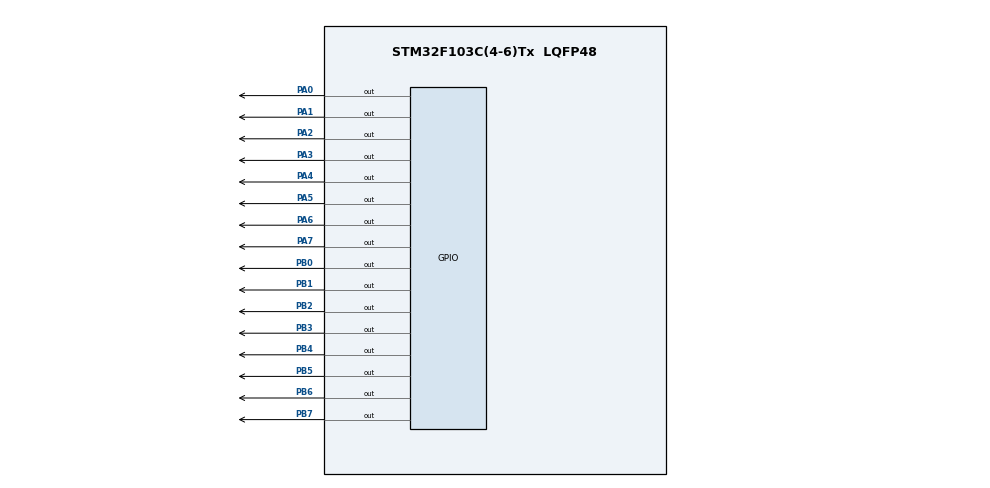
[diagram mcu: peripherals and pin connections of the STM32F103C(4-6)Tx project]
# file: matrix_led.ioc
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Mcu.Family=STM32F1
Mcu.Name=STM32F103C(4-6)Tx
Mcu.Package=LQFP48
NVIC.PriorityGroup=NVIC_PRIORITYGROUP_4
PA0-WKUP.Signal=GPIO_Output
PA1.Signal=GPIO_Output
PA2.Signal=GPIO_Output
PA3.Signal=GPIO_Output
PA4.Signal=GPIO_Output
PA5.Signal=GPIO_Output
PA6.Signal=GPIO_Output
PA7.Signal=GPIO_Output
PB0.Signal=GPIO_Output
PB1.Signal=GPIO_Output
PB2.Signal=GPIO_Output
PB3.Signal=GPIO_Output
PB4.Signal=GPIO_Output
PB5.Signal=GPIO_Output
PB6.Signal=GPIO_Output
PB7.Signal=GPIO_Output
ProjectManager.HeapSize=0x200
ProjectManager.StackSize=0x400
ProjectManager.TargetToolchain=STM32CubeIDE
RCC.APB1Freq_Value=8000000
RCC.APB2Freq_Value=8000000
VP_SYS_VS_ND.Mode=No_Debug
board=custom

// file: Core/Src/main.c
/* USER CODE BEGIN Header */
/**
  ******************************************************************************
  * @file           : main.c
  * @brief          : Main program body
  ******************************************************************************
  * @attention
  *
  * Copyright (c) 2026 STMicroelectronics.
  * All rights reserved.
  *
  * This software is licensed under terms that can be found in the LICENSE file
  * in the root directory of this software component.
  * If no LICENSE file comes with this software, it is provided AS-IS.
  *
  ******************************************************************************
  */
/* USER CODE END Header */
#include "main.h"

void SystemClock_Config(void);
static void MX_GPIO_Init(void);
/* USER CODE BEGIN PFP */
uint8_t row,col;
/* USER CODE END PFP */

/* USER CODE BEGIN 0 */
void mutiple(void);
void setpoint(uint8_t row,uint8_t col);
void picture(uint8_t mang2D[8][8]);
uint8_t love[8][8] =
{
		{0,0,0,0,0,0,0,0},
		{0,1,1,0,0,1,1,0},
		{1,0,0,1,1,0,0,1},
		{1,0,0,0,0,0,0,1},
		{1,0,0,0,0,0,0,1},
		{0,1,0,0,0,0,1,0},
		{0,0,1,0,0,1,0,0},
		{0,0,0,1,1,0,0,0}
};
uint8_t T[8][8] =
{
		{1,1,1,1,1,1,1,1},
		{1,1,1,1,1,1,1,1},
		{0,0,0,1,1,0,0,0},
		{0,0,0,1,1,0,0,0},
		{0,0,0,1,1,0,0,0},
		{0,0,0,1,1,0,0,0},
		{0,0,0,1,1,0,0,0},
		{0,0,0,1,1,0,0,0}
};
/* USER CODE END 0 */

int main(void)
{

  /* MCU Configuration--------------------------------------------------------*/

  /* Reset of all peripherals, Initializes the Flash interface and the Systick. */
  HAL_Init();

  /* Configure the system clock */
  SystemClock_Config();

  /* Initialize all configured peripherals */
  MX_GPIO_Init();
  /* USER CODE BEGIN 2 */

  GPIOA->ODR = 0xFF;
  uint8_t hex[8] =
  {
		  0xFF,
		  0xFF,
		  0x18,
		  0x18,
		  0x18,
		  0x18,
		  0x18,
		  0x18,
  };
	GPIOA->BSRR = 0xFF;
	GPIOB->BRR  = 0xFF;
	uint32_t check = 0;
	uint8_t pic =0;
  /* USER CODE END 2 */

  /* Infinite loop */
  /* USER CODE BEGIN WHILE */
  while (1)
  {
//	  for(uint8_t i=0;i<8;i++)
//	  {
//		  GPIOA->BSRR = hex[i];
//		  for(uint8_t j=0;j<8;j++)
//		  {
//			  GPIOB->BSRR = 1<<j;
//			  HAL_Delay(4);
//			  GPIOB->BRR = 1 <<j;
//		  }
//		  GPIOA->BRR = hex[i];
//	  }
//	  setpoint(2, 3);
//	  setpoint(2, 4);
//	  setpoint(1, 2);
//	  setpoint(1, 5);
//	  setpoint(1, 1);
//	  setpoint(1, 6);
//	  setpoint(7, 3);
//	  setpoint(7, 4);
//	  setpoint(6, 2);
//	  setpoint(6, 5);
//	  setpoint(5, 1);
//	  setpoint(5, 6);
//	  setpoint(4, 0);
//	  setpoint(4, 7);
//	  setpoint(2, 0);
//	  setpoint(2, 7);
//	  setpoint(3, 0);
//	  setpoint(3, 7);
	  if(HAL_GetTick() - check <=1000)
	  {
		  pic =1;
	  }
	  else if(HAL_GetTick() - check >=1000 && HAL_GetTick() - check <=2000)
	  {
		  pic =0;
	  }
	  else
	  {
		  check = HAL_GetTick();
	  }
	  if(pic)
	  {
		  picture(love);
	  }
	  else
	  {
		  picture(T);
	  }

    /* USER CODE END WHILE */

  }
}

void SystemClock_Config(void)
{
  RCC_OscInitTypeDef RCC_OscInitStruct = {0};
  RCC_ClkInitTypeDef RCC_ClkInitStruct = {0};

  /** Initializes the RCC Oscillators according to the specified parameters
  * in the RCC_OscInitTypeDef structure.
  */
  RCC_OscInitStruct.OscillatorType = RCC_OSCILLATORTYPE_HSI;
  RCC_OscInitStruct.HSIState = RCC_HSI_ON;
  RCC_OscInitStruct.HSICalibrationValue = RCC_HSICALIBRATION_DEFAULT;
  RCC_OscInitStruct.PLL.PLLState = RCC_PLL_NONE;
  if (HAL_RCC_OscConfig(&RCC_OscInitStruct) != HAL_OK)
  {
    Error_Handler();
  }

  /** Initializes the CPU, AHB and APB buses clocks
  */
  RCC_ClkInitStruct.ClockType = RCC_CLOCKTYPE_HCLK|RCC_CLOCKTYPE_SYSCLK
                              |RCC_CLOCKTYPE_PCLK1|RCC_CLOCKTYPE_PCLK2;
  RCC_ClkInitStruct.SYSCLKSource = RCC_SYSCLKSOURCE_HSI;
  RCC_ClkInitStruct.AHBCLKDivider = RCC_SYSCLK_DIV1;
  RCC_ClkInitStruct.APB1CLKDivider = RCC_HCLK_DIV1;
  RCC_ClkInitStruct.APB2CLKDivider = RCC_HCLK_DIV1;

  if (HAL_RCC_ClockConfig(&RCC_ClkInitStruct, FLASH_LATENCY_0) != HAL_OK)
  {
    Error_Handler();
  }
}

static void MX_GPIO_Init(void)
{
  GPIO_InitTypeDef GPIO_InitStruct = {0};

  /* GPIO Ports Clock Enable */
  __HAL_RCC_GPIOA_CLK_ENABLE();
  __HAL_RCC_GPIOB_CLK_ENABLE();

  /*Configure GPIO pin Output Level */
  HAL_GPIO_WritePin(GPIOA, GPIO_PIN_0|GPIO_PIN_1|GPIO_PIN_2|GPIO_PIN_3
                          |GPIO_PIN_4|GPIO_PIN_5|GPIO_PIN_6|GPIO_PIN_7, GPIO_PIN_RESET);

  /*Configure GPIO pin Output Level */
  HAL_GPIO_WritePin(GPIOB, GPIO_PIN_0|GPIO_PIN_1|GPIO_PIN_2|GPIO_PIN_3
                          |GPIO_PIN_4|GPIO_PIN_5|GPIO_PIN_6|GPIO_PIN_7, GPIO_PIN_RESET);

  /*Configure GPIO pins : PA0 PA1 PA2 PA3
                           PA4 PA5 PA6 PA7 */
  GPIO_InitStruct.Pin = GPIO_PIN_0|GPIO_PIN_1|GPIO_PIN_2|GPIO_PIN_3
                          |GPIO_PIN_4|GPIO_PIN_5|GPIO_PIN_6|GPIO_PIN_7;
  GPIO_InitStruct.Mode = GPIO_MODE_OUTPUT_PP;
  GPIO_InitStruct.Pull = GPIO_NOPULL;
  GPIO_InitStruct.Speed = GPIO_SPEED_FREQ_LOW;
  HAL_GPIO_Init(GPIOA, &GPIO_InitStruct);

  /*Configure GPIO pins : PB0 PB1 PB2 PB3
                           PB4 PB5 PB6 PB7 */
  GPIO_InitStruct.Pin = GPIO_PIN_0|GPIO_PIN_1|GPIO_PIN_2|GPIO_PIN_3
                          |GPIO_PIN_4|GPIO_PIN_5|GPIO_PIN_6|GPIO_PIN_7;
  GPIO_InitStruct.Mode = GPIO_MODE_OUTPUT_PP;
  GPIO_InitStruct.Pull = GPIO_NOPULL;
  GPIO_InitStruct.Speed = GPIO_SPEED_FREQ_LOW;
  HAL_GPIO_Init(GPIOB, &GPIO_InitStruct);

}

/* USER CODE BEGIN 4 */
void mutiple(void)
{
	  for(row =0;row<8;row++)
	  {
		  GPIOA->BSRR = 1 <<(16 + row);
		  for(col = 0; col < 8 ; col++)
		  {
			  GPIOB->BSRR = 1 << col;
			  HAL_Delay(50);
			  GPIOB->BRR = 1 << col;
		  }
		  GPIOA->BSRR  = 1 << row;
	  }
}
void setpoint(uint8_t row,uint8_t col)
{
	GPIOA->BRR  = 1 << row;
	GPIOB->BSRR = 1 << col;
	HAL_Delay(1);
	GPIOA->BSRR  = 1 << row;
	GPIOB->BRR = 1 << col;
}
void picture(uint8_t mang2D[8][8])
{
	for(uint8_t row = 0;row <8;row++)
	{
		for(uint8_t col = 0 ;col <8;col++)
		{
			if(mang2D[row][col] == 1)
			{
				GPIOA->BRR  = 1 << row;
				GPIOB->BSRR = 1 << col;
				for(volatile uint16_t i=0;i<500;i++)
				{

				}
				GPIOA->BSRR  = 1 << row;
				GPIOB->BRR = 1 << col;
			}
		}
	}
}
/* USER CODE END 4 */

void Error_Handler(void)
{
  __disable_irq();
  while (1)
  {
  }
}
